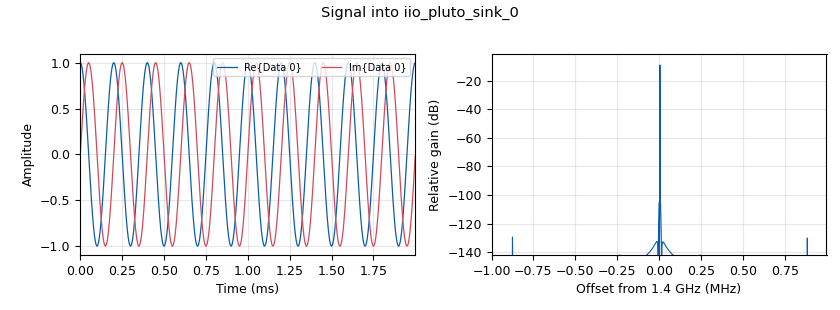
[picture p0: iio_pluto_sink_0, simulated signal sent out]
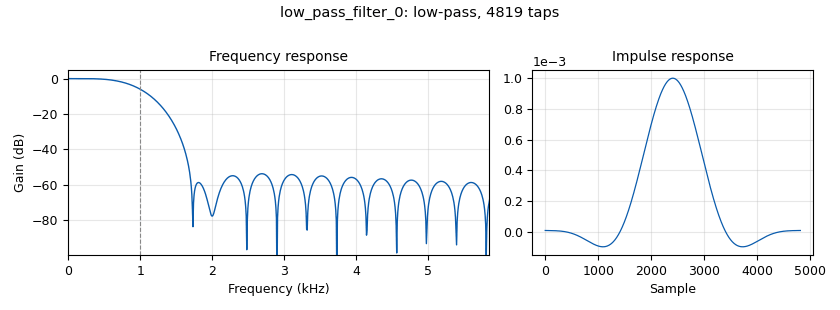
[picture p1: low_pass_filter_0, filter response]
options:
  parameters:
    generate_options: qt_gui
    id: top_block
    output_language: python
  states: {}

blocks:
- name: decim
  id: variable
  parameters:
    value: 512*4
  states: {}
- name: f1
  id: variable_qtgui_range
  parameters:
    start: '1'
    step: '1000'
    stop: '10000000'
    value: '5000'
  states: {}
- name: fft_size
  id: variable
  parameters:
    value: '1024'
  states: {}
- name: lo
  id: variable_qtgui_range
  parameters:
    label: lo freq
    start: '10000000'
    step: '100000'
    stop: '6000000000'
    value: '1400000000'
  states: {}
- name: q
  id: variable_qtgui_range
  parameters:
    label: Q
    start: '19000'
    step: '1'
    stop: '10000000'
    value: '5000000'
  states: {}
- name: samp_rate
  id: variable
  parameters:
    value: '2000000'
  states: {}
- name: var1
  id: variable_qtgui_chooser
  parameters:
    label0: Sine
    label1: Cosine
    label2: Saw Tooth
    label3: Triangle
    label4: Square
    num_opts: '5'
    option0: Sine
    option1: Cosine
    option2: Saw Tooth
    option3: Triangle
    option4: Square
    type: string
    value: sine
  states: {state: disabled}
- name: var2
  id: variable
  parameters:
    value: var1
  states: {state: disabled}
- name: analog_agc_xx_0
  id: analog_agc_xx
  parameters:
    gain: '1.0'
    max_gain: '65536'
    rate: '1e-4'
    reference: '1.0'
    type: complex
  states: {}
- name: analog_agc_xx_0_0
  id: analog_agc_xx
  parameters:
    gain: '1.0'
    max_gain: '65536'
    rate: '1e-4'
    reference: '1.0'
    type: complex
  states: {}
- name: analog_sig_source_x_0
  id: analog_sig_source_x
  parameters:
    amp: '1'
    freq: f1
    offset: '0'
    phase: '0'
    samp_rate: samp_rate
    type: complex
    waveform: analog.GR_COS_WAVE
  states: {}
- name: blocks_complex_to_mag_0_0
  id: blocks_complex_to_mag
  parameters:
    vlen: fft_size
  states: {}
- name: blocks_complex_to_real_0
  id: blocks_complex_to_real
  parameters: {}
  states: {state: disabled}
- name: blocks_file_sink_0
  id: blocks_file_sink
  parameters:
    file: C:\Users\raidfire\Desktop\gpr\data\test_saw.bin
    type: complex
  states: {state: disabled}
- name: blocks_multiply_conjugate_cc_0
  id: blocks_multiply_conjugate_cc
  parameters: {}
  states: {}
- name: blocks_stream_to_vector_0_1
  id: blocks_stream_to_vector
  parameters:
    num_items: fft_size
    type: complex
  states: {}
- name: blocks_udp_sink_0_0
  id: blocks_udp_sink
  parameters:
    eof: 'True'
    ipaddr: localhost
    port: '3333'
    psize: '1472'
    type: complex
    vlen: '1'
  states: {state: disabled}
- name: blocks_vector_to_stream_0_0
  id: blocks_vector_to_stream
  parameters:
    num_items: fft_size
    type: float
  states: {}
- name: fft_vxx_0_0_0_1
  id: fft_vxx
  parameters:
    fft_size: fft_size
    forward: 'False'
    nthreads: '8'
    shift: 'False'
    type: complex
    window: window.blackmanharris(fft_size)
  states: {}
- name: iio_pluto_sink_0
  id: iio_pluto_sink
  parameters:
    attenuation1: '10.0'
    bandwidth: '20000000'
    buffer_size: '32768'
    cyclic: 'False'
    filter_source: '''Auto'''
    frequency: lo
    samplerate: samp_rate
    type: fc32
    uri: ip:192.168.2.1
  states: {}
- name: iio_pluto_source_0
  id: iio_pluto_source
  parameters:
    bandwidth: '20000000'
    bbdc: 'True'
    buffer_size: '32768'
    filter_source: '''Auto'''
    frequency: lo
    gain1: '''slow_attack'''
    quadrature: 'True'
    rfdc: 'True'
    samplerate: samp_rate
    type: fc32
    uri: ip:192.168.2.1
  states: {}
- name: low_pass_filter_0
  id: low_pass_filter
  parameters:
    cutoff_freq: 1e3
    decim: decim
    gain: '1'
    samp_rate: samp_rate
    type: fir_filter_ccf
    width: 1e3
    win: window.WIN_HAMMING
  states: {}
- name: qtgui_number_sink_0
  id: qtgui_number_sink
  parameters:
    graph_type: qtgui.NUM_GRAPH_HORIZ
    max: '5000'
    min: '0'
    type: float
    update_time: '0.001'
  states: {state: disabled}
- name: qtgui_time_raster_sink_x_0_0
  id: qtgui_time_raster_sink_x
  parameters:
    mult: '[1]'
    name: '"Mag"'
    ncols: fft_size
    nrows: fft_size
    samp_rate: samp_rate
    type: float
    update_time: '0.0001'
    zmax: '5'
    zmin: '0'
  states: {}
- name: qtgui_waterfall_sink_x_0
  id: qtgui_waterfall_sink_x
  parameters:
    bw: samp_rate
    fc: '0'
    fftsize: '1024'
    type: complex
  states: {}

connections:
- [analog_agc_xx_0, '0', blocks_multiply_conjugate_cc_0, '0']
- [analog_agc_xx_0_0, '0', blocks_multiply_conjugate_cc_0, '1']
- [analog_sig_source_x_0, '0', analog_agc_xx_0, '0']
- [analog_sig_source_x_0, '0', blocks_complex_to_real_0, '0']
- [analog_sig_source_x_0, '0', iio_pluto_sink_0, '0']
- [blocks_complex_to_mag_0_0, '0', blocks_vector_to_stream_0_0, '0']
- [blocks_multiply_conjugate_cc_0, '0', blocks_stream_to_vector_0_1, '0']
- [blocks_multiply_conjugate_cc_0, '0', low_pass_filter_0, '0']
- [blocks_stream_to_vector_0_1, '0', fft_vxx_0_0_0_1, '0']
- [blocks_vector_to_stream_0_0, '0', qtgui_number_sink_0, '0']
- [blocks_vector_to_stream_0_0, '0', qtgui_time_raster_sink_x_0_0, '0']
- [fft_vxx_0_0_0_1, '0', blocks_complex_to_mag_0_0, '0']
- [iio_pluto_source_0, '0', analog_agc_xx_0_0, '0']
- [low_pass_filter_0, '0', blocks_file_sink_0, '0']
- [low_pass_filter_0, '0', blocks_udp_sink_0_0, '0']
- [low_pass_filter_0, '0', qtgui_waterfall_sink_x_0, '0']

metadata:
  file_format: 1
  grc_version: 3.10.3.0
